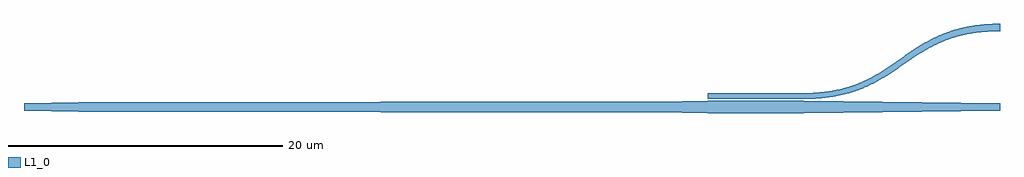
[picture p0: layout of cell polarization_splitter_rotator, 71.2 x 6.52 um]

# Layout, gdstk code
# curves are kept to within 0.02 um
import gdstk
lib = gdstk.Library(unit=1e-6, precision=1e-09)
def R(c, l, rs):  # rectangles x0, y0, x1, y1
    for r in rs: c.add(gdstk.rectangle(r[:2], r[2:], *l))
def P(c, l, *ps):  # polygons
    for p in ps: c.add(gdstk.Polygon(p, *l))
L1_0 = (1, 0)

polarization_splitter_ro = lib.new_cell('polarization_splitter_rotator')
R(polarization_splitter_ro, L1_0, [(0,-0.45,7,0.45), (0,0.6,7,1.004)])
P(polarization_splitter_ro, L1_0, [(-1.867,0.415),(0,0.45),(0,-0.45),(-1.867,-0.415)],
  [(-45.867,0.345),(-1.867,0.415),(-1.867,-0.415),(-45.867,-0.345)],
  [(-49.867,0.27),(-45.867,0.345),(-45.867,-0.345),(-49.867,-0.27)],
  [(7,0.45),(21.33,0.27),(21.33,-0.27),(7,-0.45)],
  [(7,0.6),(8.136,0.639),(9.159,0.761),(10.239,0.999),(11.131,1.295),(11.874,1.618),(12.738,2.083),(13.593,2.624),(15.496,3.909),(16.182,4.313),(16.726,4.591),(17.785,5.017),(18.838,5.3),(20.045,5.478),(21.33,5.532),(21.33,6.072),(20.189,6.023),(19.163,5.891),(18.238,5.687),(17.259,5.366),(16.381,4.976),(15.643,4.57),(14.899,4.098),(12.785,2.649),(12.04,2.209),(11.427,1.901),(10.486,1.529),(9.338,1.226),(8.103,1.052),(7,1.004)])

lib.write_gds('polarization_splitter_rotator.gds')
